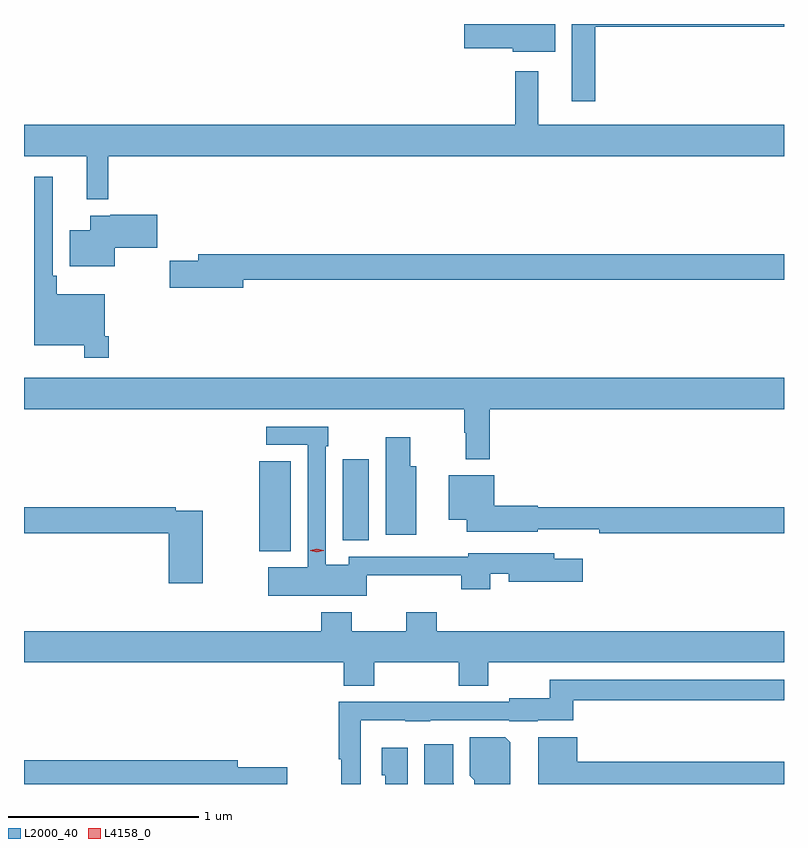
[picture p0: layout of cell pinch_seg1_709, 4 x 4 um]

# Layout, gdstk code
import gdstk
lib = gdstk.Library(unit=1e-6, precision=1e-09)
def R(c, l, rs):  # rectangles x0, y0, x1, y1
    for r in rs: c.add(gdstk.rectangle(r[:2], r[2:], *l))
def P(c, l, *ps):  # polygons
    for p in ps: c.add(gdstk.Polygon(p, *l))
L2000_40 = (2000, 40)
L4158_0 = (4158, 0)

pinch_seg1_709 = lib.new_cell('pinch_seg1_709')
R(pinch_seg1_709, L2000_40, [(744.338,513.689,744.505,514.163), (744.779,513.745,744.916,514.171)])
P(pinch_seg1_709, L2000_40, [(746.107,516.448),(747.101,516.448),(747.101,516.463),(745.985,516.463),(745.985,516.057),(746.107,516.057)],
  [(745.897,516.463),(745.418,516.463),(745.418,516.335),(745.674,516.335),(745.674,516.317),(745.897,516.317)],
  [(743.544,515.768),(747.101,515.768),(747.101,515.932),(745.807,515.932),(745.807,516.214),(745.686,516.214),(745.686,515.932),(743.101,515.932),(743.101,515.768),(743.432,515.768),(743.432,515.54),(743.544,515.54)],
  [(743.546,514.819),(743.526,514.819),(743.526,515.041),(743.273,515.041),(743.273,515.137),(743.253,515.137),(743.253,515.659),(743.156,515.659),(743.156,514.772),(743.418,514.772),(743.418,514.707),(743.546,514.707)],
  [(743.578,515.285),(743.803,515.285),(743.803,515.46),(743.554,515.46),(743.554,515.455),(743.45,515.455),(743.45,515.377),(743.342,515.377),(743.342,515.189),(743.578,515.189)],
  [(744.256,515.116),(747.101,515.116),(747.101,515.252),(744.017,515.252),(744.017,515.216),(743.868,515.216),(743.868,515.074),(744.256,515.074)],
  [(745.553,514.436),(747.101,514.436),(747.101,514.6),(743.101,514.6),(743.101,514.436),(745.417,514.436),(745.417,514.313),(745.425,514.313),(745.425,514.173),(745.553,514.173)],
  [(744.906,513.563),(745.403,513.563),(745.403,513.488),(745.555,513.488),(745.555,513.57),(745.652,513.57),(745.652,513.527),(746.041,513.527),(746.041,513.649),(745.891,513.649),(745.891,513.678),(745.44,513.678),(745.44,513.66),(744.81,513.66),(744.81,513.616),(744.69,513.616),(744.69,514.241),(744.703,514.241),(744.703,514.344),(744.375,514.344),(744.375,514.248),(744.594,514.248),(744.594,513.604),(744.387,513.604),(744.387,513.455),(744.906,513.455)],
  [(745.165,514.135),(745.134,514.135),(745.134,514.288),(745.004,514.288),(745.004,513.774),(745.165,513.774)],
  [(747.101,513.92),(745.806,513.92),(745.806,513.928),(745.576,513.928),(745.576,514.087),(745.337,514.087),(745.337,513.854),(745.43,513.854),(745.43,513.791),(745.806,513.791),(745.806,513.804),(746.128,513.804),(746.128,513.784),(747.101,513.784)],
  [(744.042,513.9),(743.9,513.9),(743.9,513.92),(743.101,513.92),(743.101,513.784),(743.864,513.784),(743.864,513.519),(744.042,513.519)],
  [(744.945,513.104),(745.39,513.104),(745.39,512.98),(745.545,512.98),(745.545,513.104),(747.101,513.104),(747.101,513.268),(745.274,513.268),(745.274,513.367),(745.114,513.367),(745.114,513.268),(744.825,513.268),(744.825,513.367),(744.665,513.367),(744.665,513.268),(743.101,513.268),(743.101,513.104),(744.785,513.104),(744.785,512.98),(744.945,512.98)],
  [(744.873,512.798),(745.107,512.798),(745.107,512.792),(745.239,512.792),(745.239,512.799),(745.656,512.799),(745.656,512.792),(745.806,512.792),(745.806,512.798),(745.993,512.798),(745.993,512.904),(747.101,512.904),(747.101,513.012),(745.869,513.012),(745.869,512.914),(745.656,512.914),(745.656,512.895),(745.239,512.895),(745.239,512.897),(745.007,512.897),(745.007,512.895),(744.757,512.895),(744.757,512.592),(744.772,512.592),(744.772,512.463),(744.873,512.463)],
  [(747.101,512.581),(746.014,512.581),(746.014,512.71),(745.808,512.71),(745.808,512.463),(747.101,512.463)],
  [(745.66,512.684),(745.634,512.71),(745.448,512.71),(745.448,512.506),(745.47,512.484),(745.47,512.463),(745.66,512.463)],
  [(745.364,512.466),(745.36,512.466),(745.36,512.671),(745.208,512.671),(745.208,512.463),(745.364,512.463)],
  [(745.12,512.653),(744.983,512.653),(744.983,512.508),(745.001,512.508),(745.001,512.463),(745.12,512.463)],
  [(744.487,512.552),(744.226,512.552),(744.226,512.588),(743.101,512.588),(743.101,512.463),(744.487,512.463)])
P(pinch_seg1_709, L4158_0, [(744.643,513.682),(744.608,513.691),(744.608,513.692),(744.608,513.692),(744.643,513.702),(744.678,513.692),(744.678,513.692),(744.678,513.691)])

lib.write_gds('pinch_seg1_709.gds')
